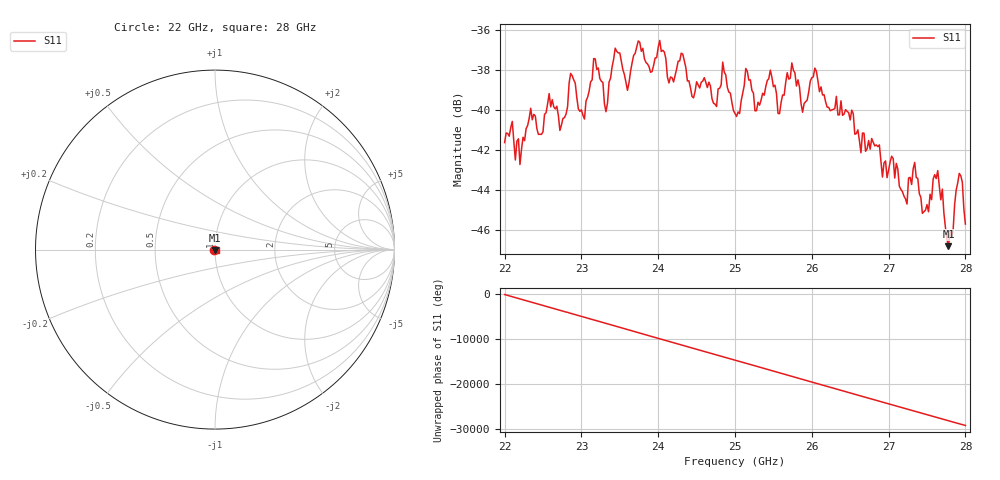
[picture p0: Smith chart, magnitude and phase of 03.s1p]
#  HZ  S  RI  R  50.00
! Rohde & Schwarz ZVA40 4Ports - Version 3.90 - 1145.1110k42 SN: 100403
! Date: 2023-10-04 08:26:21
! Measurement: S12
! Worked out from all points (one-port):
!   301 points, 22 GHz to 28 GHz, reference 50 ohm
!   lowest |S11| = -46.8 dB at 27.78 GHz (marker M1), VSWR 1.01, Z = 50.1 - j0.437 ohm
!   |S11| at or under -10 dB: start of sweep to end of sweep
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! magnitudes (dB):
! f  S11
! 22 GHz  -41.6
! 22.76 GHz  -40.4
! 22.86 GHz  -38.2
! 23.04 GHz  -40.5
! 23.16 GHz  -37.4
! 23.32 GHz  -40.1
! 23.5 GHz  -37.1
! 23.6 GHz  -39.0
! 23.74 GHz  -36.5
! 24.26 GHz  -37.6
! 24.76 GHz  -39.8
! 24.84 GHz  -37.6
! 25 GHz  -40.2
! 25.14 GHz  -37.9
! 25.26 GHz  -40.0
! 25.46 GHz  -38.0
! 25.58 GHz  -40.2
! 25.76 GHz  -38.0
! 25.88 GHz  -40.1
! 26.04 GHz  -37.9
! 26.5 GHz  -40.5
! 27.26 GHz  -43.4
! 27.34 GHz  -42.6
! 27.44 GHz  -45.2
! 27.64 GHz  -43.0
! 27.78 GHz  -46.8
! 27.92 GHz  -43.2
! 28 GHz  -45.7
